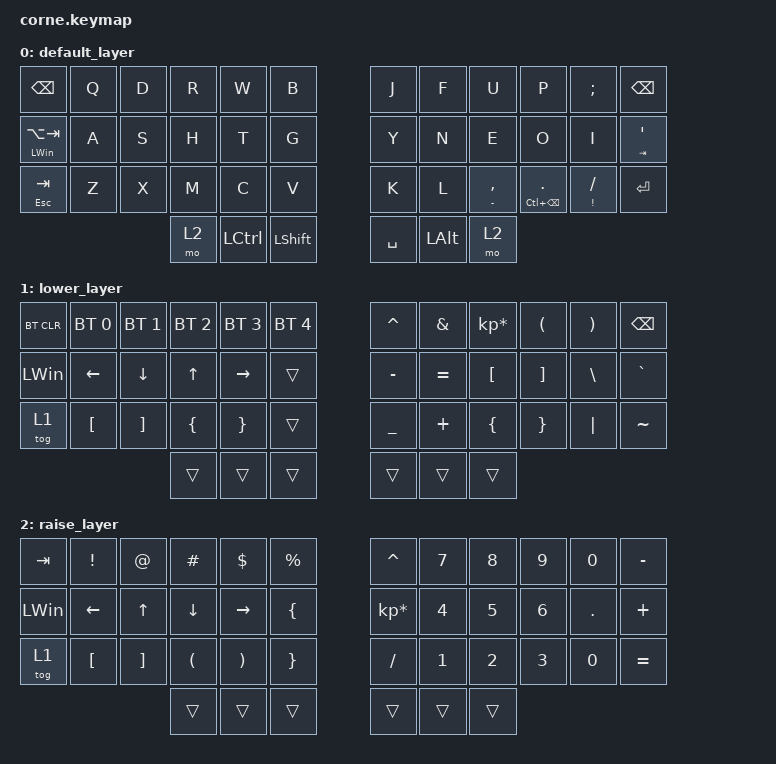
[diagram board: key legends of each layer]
/*
 * Copyright (c) 2020 The ZMK Contributors
 *
 * SPDX-License-Identifier: MIT
 */

#include <behaviors.dtsi>
#include <dt-bindings/zmk/keys.h>
#include <dt-bindings/zmk/bt.h>

#define DEFAULT 0
#define LOWER   1
#define RAISE   2



/ {
    behaviors {
        gqt: global-quick-tap {
            compatible = "zmk,behavior-hold-tap";
            label = "GLOBAL_QUICK_TAP";
            #binding-cells = <2>;
            flavor = "tap-preferred";
            tapping-term-ms = <200>;
            quick-tap-ms = <125>;
            global-quick-tap;
            bindings = <&kp>, <&kp>;
        };
    };
        keymap {
                compatible = "zmk,keymap";

                default_layer {
// -----------------------------------------------------------------------------------------
// | BSPC |  Q  |  D  |  R  |  W  |  B  |   |  J  |  F   |  U     |  P     |  ;     | BSPC |
// | altab|  A  |  S  |  H  |  T  |  G  |   |  Y  |  N   |  E     |  O     |  I     | ' or TAB |
// | TAB or ESC |  Z  |  X  |  M  |  C  |  V  |   |  K  |  L   | , or - | . or ' | / or ! | ENTR |
//                    | RSE | CTRL| SHFT|   | SPC | LALT | RSE |
                        bindings = <
   &kp BSPC   &kp Q &kp D &kp R &kp W &kp B   &kp J &kp F  &kp U     &kp P   &kp SEMI &kp BSPC
   &mt LWIN LA(TAB)  &kp A &kp S &kp H &kp T &kp G   &kp Y &kp N  &kp E     &kp O   &kp I    &gqt TAB SQT
   &gqt ESC TAB &kp Z &kp X &kp M &kp C &kp V   &kp K &kp L  &gqt MINUS COMMA &gqt LC(BSPC) DOT &gqt EXCL FSLH &kp ENTER
                  &mo 2 &kp LCTRL &kp LSHFT   &kp SPACE &kp LALT &mo 2
                        >;
                };
                lower_layer {
// -----------------------------------------------------------------------------------------
// | BTCLR| BT1 | BT2 | BT3 | BT4 | BT5 |   |  ^  |  &  |  *  |  (  |  )  | BKSP |
// | LWIN | LFT | DWN |  UP | RGT |     |   |  -  |  =  |  [  |  ]  |  \  |  `   |
// | tog 1|  [  |  ]  |  {  |  }  |     |   |  _  |  +  |  {  |  }  | "|" |  ~   |
//                    |     |     |     |   |     |     |     |
                        bindings = <
   &bt BT_CLR &bt BT_SEL 0 &bt BT_SEL 1 &bt BT_SEL 2 &bt BT_SEL 3 &bt BT_SEL 4   &kp CARET &kp AMPS  &kp KP_MULTIPLY &kp LPAR &kp RPAR &kp BSPC
   &kp LWIN &kp LEFT &kp DOWN &kp UP &kp RIGHT &trans      &kp MINUS &kp EQUAL &kp LBKT        &kp RBKT &kp BSLH &kp GRAVE
   &tog 1  &kp LBKT &kp RBKT &kp LBRC &kp RBRC   &trans      &kp UNDER &kp PLUS  &kp LBRC        &kp RBRC &kp PIPE &kp TILDE
                    	     &trans &trans   &trans   &trans  &trans &trans  
                        >;
                };

                raise_layer {
// -----------------------------------------------------------------------------------------
// |  TAB |  !  |  @  |  #  |  $  |  %  |   |  ^  |  7  |  8  |  9  |  0  |  -   |
// | LWIN | LFT | UP  | DWN | RGT |  {  |   |  *  |  4  |  5  |  6  |  .  |  +   |
// | LYR1 |  [  |  ]  |  (  |  )  |  }  |   |  /  |  1  |  2  |  3  |  0  |  =   |
//                    |     |     |     |   |     |     |     |
                        bindings = <
   &kp  TAB  &kp EXCL &kp AT &kp HASH &kp DLLR &kp PRCNT   &kp CARET &kp N7  &kp N8 &kp N9 &kp N0 &kp MINUS
   &kp LWIN &kp LEFT &kp UP &kp DOWN &kp RIGHT &kp LBRC     &kp KP_MULTIPLY &kp N4 &kp N5      &kp N6 &kp DOT &kp PLUS
   &tog 1  &kp LBKT &kp RBKT &kp LPAR &kp RPAR &kp RBRC      &kp FSLH &kp N1  &kp N2        &kp N3 &kp N0 &kp EQUAL
                    	    &trans  &trans   &trans   &trans  &trans &trans 
                        >;
                };
        };
};
